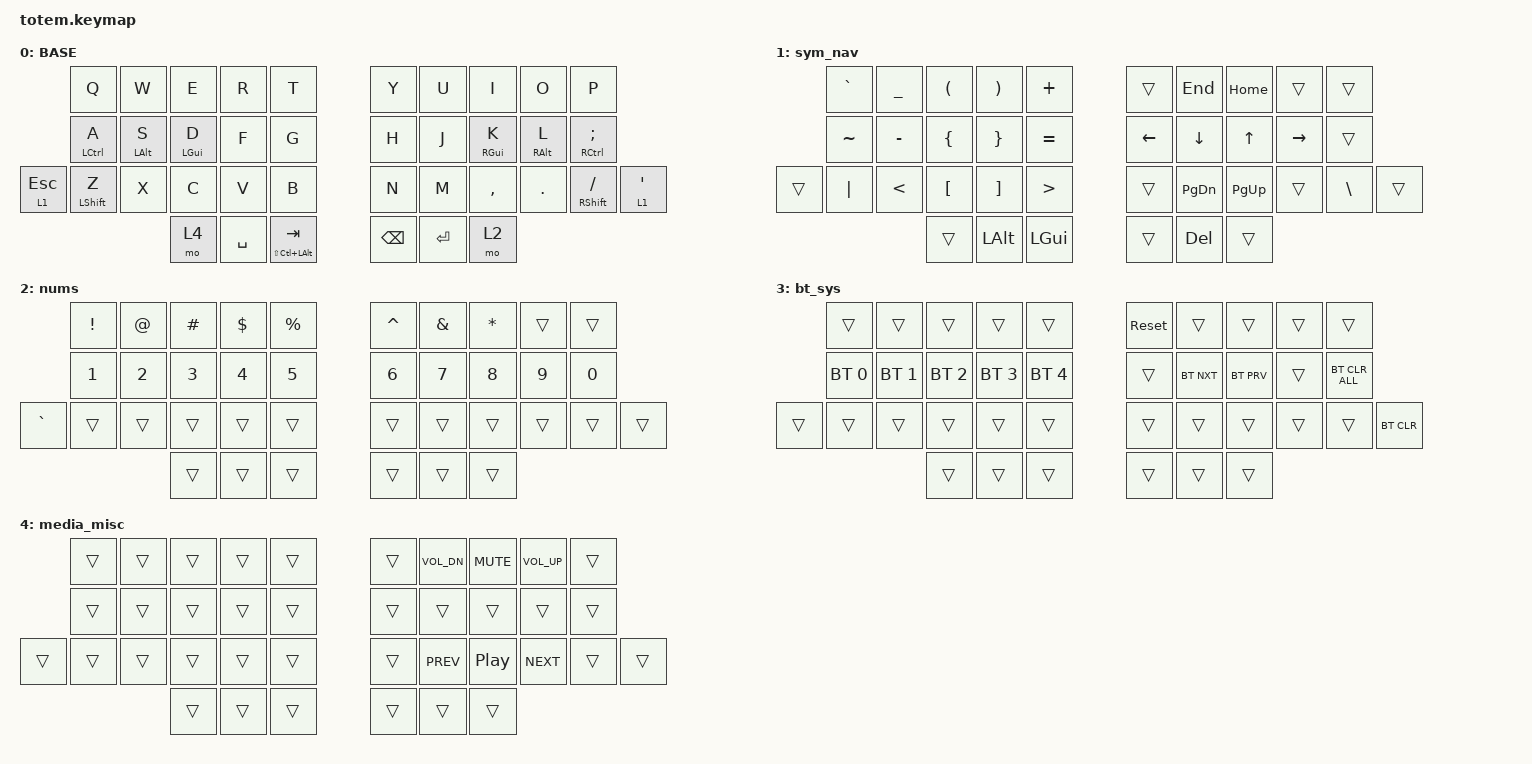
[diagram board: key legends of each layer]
//
//                                                        ▀▀▀▀▀     ▀▀▀▀▀          ▀▀█▀▀
//                                                        ▄▀▀▀▄  ▄  ▄▀▀▀▄  ▄  ▄▀▀▀▄  █  ▄▀▀▀▄
//                                                        █   █  █  █   █  █  █   █  █  █   █
//                                                         ▀▀▀   █   ▀▀▀   █   ▀▀▀   ▀   ▀▀▀
//                                                               █      ▄▄▄█▄▄▄    █   █  
//                                                               ▀      █  █  █     █▄█
//                                                             ▀▀▀▀▀    █  █  █      ▀
//                                                                      ▀  ▀  ▀
//
// ▄▄▄▄▄▄▄▄▄▄▄▄▄▄▄▄▄▄▄▄▄▄▄▄▄▄▄▄▄▄▄▄▄▄▄▄▄▄▄▄▄▄▄▄▄▄▄▄▄▄▄▄▄▄▄▄▄▄▄▄▄▄▄▄▄▄▄▄▄▄▄▄▄▄▄▄▄▄▄▄▄▄▄▄▄▄▄▄▄▄▄▄▄▄▄▄▄▄▄▄▄▄▄▄▄▄▄▄▄▄▄▄▄▄▄▄▄▄▄▄▄▄▄▄▄▄▄▄▄▄▄▄▄▄▄▄▄▄▄▄▄▄▄▄▄▄▄▄▄

#include <behaviors.dtsi>
#include <dt-bindings/zmk/bt.h>
#include <dt-bindings/zmk/keys.h>

#define BASE 0
#define NAV  1
#define SYM  2
#define ADJ  3
#define TVP1 4
#define TVP2 5

/ {
    combos {
        compatible = "zmk,combos";

        copy {
            bindings = <&kp LG(C)>;
            key-positions = <22 23>;
        };

        Paste {
            bindings = <&kp LG(V)>;
            key-positions = <24 23>;
        };

        Cut {
            bindings = <&kp LG(X)>;
            key-positions = <22 24>;
        };

        bt_activate {
            bindings = <&long_sticky_layer 3>;
            key-positions = <36 37 32 33>;
        };

        copy_link {
            bindings = <&kp LS(LG(C))>;
            key-positions = <22 23 24>;
        };

        prev_tab {
            bindings = <&kp LG(LEFT_BRACE)>;
            key-positions = <16 17>;
        };

        next_tab {
            bindings = <&kp LG(RIGHT_BRACE)>;
            key-positions = <18 19>;
        };

        go_back {
            bindings = <&kp LG(LEFT_BRACKET)>;
            key-positions = <27 28>;
        };

        go_next {
            bindings = <&kp LG(RIGHT_BRACKET)>;
            key-positions = <29 30>;
        };

        homerow_activate {
            bindings = <&kp LG(LA(LC(LS(G))))>;
            key-positions = <34 14>;
        };

        dw {
            bindings = <&delete_word_vim>;
            key-positions = <2 1>;
        };
    };

    macros {
        gif: gif {
            label = "giphy";
            compatible = "zmk,behavior-macro";
            #binding-cells = <0>;
            bindings =
                <&macro_press>,
                <&kp LSHFT>,
                <&macro_tap>,
                <&kp N2>,
                <&macro_release>,
                <&kp LSHFT>,
                <&macro_tap>,
                <&kp G &kp I &kp F>;
        };

        delete_word_vim: delete_word_vim {
            compatible = "zmk,behavior-macro";
            #binding-cells = <0>;
            bindings = <&macro_tap>, <&kp D>, <&macro_tap>, <&kp W>;

            label = "DELETE_WORD_VIM";
        };
    };

    behaviors {
        hml: hml {
            compatible = "zmk,behavior-hold-tap";
            label = "HML";
            bindings = <&kp>, <&kp>;

            #binding-cells = <2>;
            tapping-term-ms = <280>;
            quick-tap-ms = <175>;
            require-prior-idle-ms = <150>;
            flavor = "balanced";
            hold-trigger-on-release;
            hold-trigger-key-positions = <10 11 12 13>;
        };

        hmr: hmr {
            compatible = "zmk,behavior-hold-tap";
            label = "HMR";
            bindings = <&kp>, <&kp>;

            #binding-cells = <2>;
            tapping-term-ms = <280>;
            quick-tap-ms = <175>;
            require-prior-idle-ms = <150>;
            flavor = "balanced";
            hold-trigger-on-release;
            hold-trigger-key-positions = <16 17 18 19>;
        };

        long_sticky_layer: long_sticky_layer {
            compatible = "zmk,behavior-sticky-key";
            label = "LONG_STICKY_LAYER";
            bindings = <&sl>;
            #binding-cells = <1>;
            release-after-ms = <60000>;
        };
    };

    keymap {
        compatible = "zmk,keymap";

        // ▄▄▄▄▄▄▄▄▄▄▄▄▄▄▄▄▄▄▄▄▄▄▄▄▄▄▄▄▄▄▄▄▄▄▄▄▄▄▄▄▄▄▄▄▄▄▄▄▄▄▄▄▄▄▄▄▄▄▄▄▄▄▄▄▄▄▄▄▄▄▄▄▄▄▄▄▄▄▄▄▄▄▄▄▄▄▄▄▄▄▄▄▄▄▄▄▄▄▄▄▄▄▄▄▄▄▄▄▄▄▄▄▄▄▄▄▄▄▄▄▄▄▄▄▄▄▄▄▄▄▄▄▄▄▄▄▄▄▄▄▄▄▄▄▄▄▄▄▄

        base_layer {
            // ┏━━━━━━━━━━━━━━━━━━━━━━━━━━━━━━━━━━━━━━━┓

            label = "BASE";

            // ┗━━━━━━━━━━━━━━━━━━━━━━━━━━━━━━━━━━━━━━━┛
            //             ┏━━━━━━━━━━━┳━━━━━━━━━━━┳━━━━━━━━━━━┳━━━━━━━━━━━┳━━━━━━━━━━━┓   ┏━━━━━━━━━━━┳━━━━━━━━━━━┳━━━━━━━━━━━┳━━━━━━━━━━━┳━━━━━━━━━━━┓
            //             ┃     Q     ┃     W     ┃     F     ┃     P     ┃     G     ┃   ┃     J     ┃     L     ┃     U     ┃     Y     ┃     ;     ┃
            //             ┣━━━━━━━━━━━╋━━━━━━━━━━━╋━━━━━━━━━━━╋━━━━━━━━━━━╋━━━━━━━━━━━┫   ┣━━━━━━━━━━━╋━━━━━━━━━━━╋━━━━━━━━━━━╋━━━━━━━━━━━╋━━━━━━━━━━━┫
            //             ┃     A     ┃     R     ┃     S     ┃     T     ┃     D     ┃   ┃     H     ┃     N     ┃     E     ┃     I     ┃     O     ┃
            // ┏━━━━━━━━━━━╋━━━━━━━━━━━╋━━━━━━━━━━━╋━━━━━━━━━━━╋━━━━━━━━━━━╋━━━━━━━━━━━┫   ┣━━━━━━━━━━━╋━━━━━━━━━━━╋━━━━━━━━━━━╋━━━━━━━━━━━╋━━━━━━━━━━━╋━━━━━━━━━━━┓
            // ┃     Q     ┃     Z     ┃     X     ┃     C     ┃     V     ┃     B     ┃   ┃     K     ┃     M     ┃     ,     ┃     .     ┃     /     ┃     \     ┃
            // ┗━━━━━━━━━━━┻━━━━━━━━━━━┻━━━━━━━━━━━╋━━━━━━━━━━━╋━━━━━━━━━━━╋━━━━━━━━━━━┫   ┣━━━━━━━━━━━╋━━━━━━━━━━━╋━━━━━━━━━━━╋━━━━━━━━━━━┻━━━━━━━━━━━┻━━━━━━━━━━━┛
            //                                     ┃    DEL    ┃    TAB    ┃    SPC    ┃   ┃   ENTER   ┃           ┃   BSPC    ┃
            //                                     ┗━━━━━━━━━━━┻━━━━━━━━━━━┻━━━━━━━━━━━┛   ┗━━━━━━━━━━━┻━━━━━━━━━━━┻━━━━━━━━━━━┛

            bindings = <
           &kp Q         &kp W        &kp E        &kp R      &kp T                       &kp Y          &kp U      &kp I        &kp O        &kp P
           &hml LCTRL A  &hml LALT S  &hml LGUI D  &kp F      &kp G                       &kp H          &kp J      &hmr RGUI K  &hmr RALT L  &hmr RCTRL SEMI
&lt 1 ESC  &mt LSHIFT Z  &kp X        &kp C        &kp V      &kp B                       &kp N          &kp M      &kp COMMA    &kp DOT      &mt RIGHT_SHIFT FSLH  &lt 1 SQT
                                      &mo 4        &kp SPACE  &mt LS(LC(LEFT_ALT)) TAB    &kp BACKSPACE  &kp ENTER  &mo 2
            >;
        };

        sym_nav {
            bindings = <
        &kp GRAVE  &kp UNDERSCORE  &kp LPAR  &kp RIGHT_PARENTHESIS  &kp PLUS            &trans    &kp END        &kp HOME   &trans     &trans
        &kp TILDE  &kp MINUS       &kp LBRC  &kp RIGHT_BRACE        &kp EQUAL           &kp LEFT  &kp DOWN       &kp UP     &kp RIGHT  &trans
&trans  &kp PIPE   &kp LESS_THAN   &kp LBKT  &kp RIGHT_BRACKET      &kp GREATER_THAN    &trans    &kp PAGE_DOWN  &kp PG_UP  &trans     &kp BACKSLASH  &trans
                                   &trans    &kp LALT               &kp LGUI            &trans    &kp DELETE     &trans
            >;
        };

        nums {
            bindings = <
           &kp EXCL      &kp AT_SIGN   &kp HASH      &kp DOLLAR    &kp PERCENT     &kp CARET     &kp AMPS  &kp ASTERISK  &trans  &trans
           &kp NUMBER_1  &kp NUMBER_2  &kp NUMBER_3  &kp NUMBER_4  &kp NUMBER_5    &kp NUMBER_6  &kp N7    &kp N8        &kp N9  &kp N0
&kp GRAVE  &trans        &trans        &trans        &trans        &trans          &trans        &trans    &trans        &trans  &trans  &trans
                                       &trans        &trans        &trans          &trans        &trans    &trans
            >;
        };

        bt_sys {
            bindings = <
        &trans        &trans        &trans        &trans        &trans          &sys_reset  &trans      &trans      &trans  &trans
        &bt BT_SEL 0  &bt BT_SEL 1  &bt BT_SEL 2  &bt BT_SEL 3  &bt BT_SEL 4    &trans      &bt BT_NXT  &bt BT_PRV  &trans  &bt BT_CLR_ALL
&trans  &trans        &trans        &trans        &trans        &trans          &trans      &trans      &trans      &trans  &trans          &bt BT_CLR
                                    &trans        &trans        &trans          &trans      &trans      &trans
            >;
        };

        media_misc {
            bindings = <
        &trans  &trans  &trans  &trans  &trans    &trans  &kp C_VOL_DN  &kp C_MUTE        &kp C_VOLUME_UP  &trans
        &trans  &trans  &trans  &trans  &trans    &trans  &trans        &trans            &trans           &trans
&trans  &trans  &trans  &trans  &trans  &trans    &trans  &kp C_PREV    &kp C_PLAY_PAUSE  &kp C_NEXT       &trans  &trans
                        &trans  &trans  &trans    &trans  &trans        &trans
            >;
        };
    };
};
